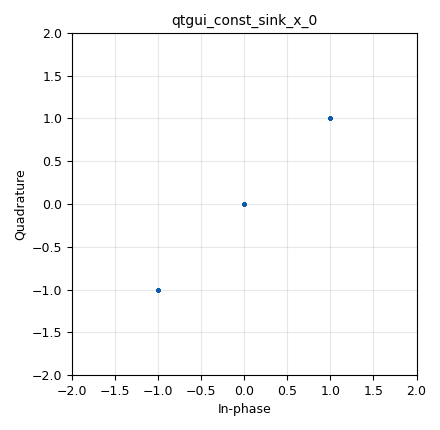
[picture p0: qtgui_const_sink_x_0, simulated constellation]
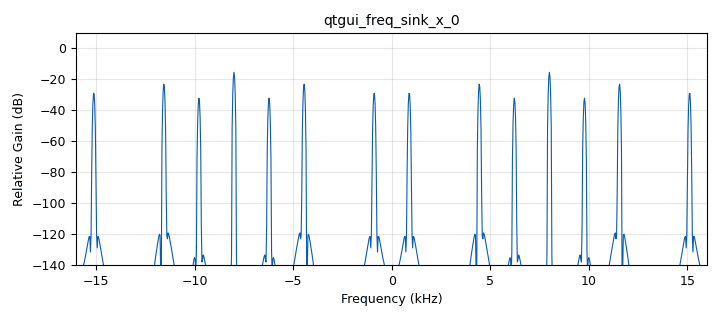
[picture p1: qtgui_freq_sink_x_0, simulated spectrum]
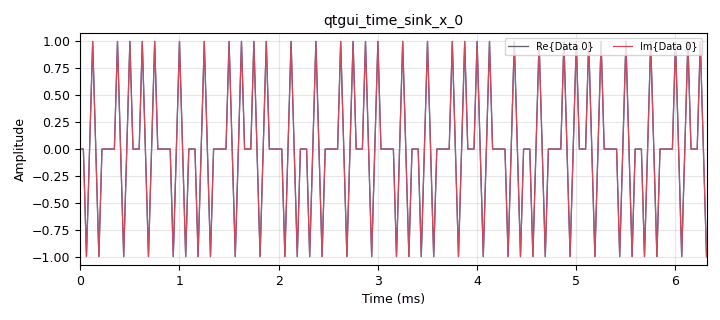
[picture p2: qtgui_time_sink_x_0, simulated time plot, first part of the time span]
<?xml version='1.0' encoding='utf-8'?>
<?grc format='1' created='3.7.13'?>
<flow_graph>
<block>
<key>options</key>
<param><key>id</key><value>top_block</value></param>
<param><key>generate_options</key><value>qt_gui</value></param>
</block>
<block>
<key>variable</key>
<param><key>id</key><value>samp_rate</value></param>
<param><key>value</key><value>32000</value></param>
</block>
<block>
<key>analog_sig_source_x</key>
<param><key>id</key><value>analog_sig_source_x_0</value></param>
<param><key>amp</key><value>1</value></param>
<param><key>freq</key><value>8000</value></param>
<param><key>offset</key><value>0</value></param>
<param><key>type</key><value>float</value></param>
<param><key>samp_rate</key><value>samp_rate</value></param>
<param><key>waveform</key><value>analog.GR_COS_WAVE</value></param>
</block>
<block>
<key>audio_sink</key>
<param><key>id</key><value>audio_sink_0</value></param>
<param><key>samp_rate</key><value>samp_rate</value></param>
</block>
<block>
<key>blocks_float_to_complex</key>
<param><key>id</key><value>blocks_float_to_complex_0</value></param>
</block>
<block>
<key>blocks_multiply_xx</key>
<param><key>id</key><value>blocks_multiply_xx_0</value></param>
<param><key>type</key><value>float</value></param>
</block>
<block>
<key>blocks_vector_source_x</key>
<param><key>id</key><value>blocks_vector_source_x_0</value></param>
<param><key>type</key><value>float</value></param>
<param><key>repeat</key><value>True</value></param>
<param><key>vector</key><value>(1,1,1,0, 0, 0,1,1,1)</value></param>
</block>
<block>
<key>qtgui_const_sink_x</key>
<param><key>id</key><value>qtgui_const_sink_x_0</value></param>
<param><key>size</key><value>1024</value></param>
<param><key>type</key><value>complex</value></param>
</block>
<block>
<key>qtgui_freq_sink_x</key>
<param><key>id</key><value>qtgui_freq_sink_x_0</value></param>
<param><key>bw</key><value>samp_rate</value></param>
<param><key>fc</key><value>0</value></param>
<param><key>fftsize</key><value>1024</value></param>
<param><key>showports</key><value>True</value></param>
<param><key>type</key><value>complex</value></param>
<param><key>wintype</key><value>firdes.WIN_BLACKMAN_hARRIS</value></param>
</block>
<block>
<key>qtgui_time_sink_x</key>
<param><key>id</key><value>qtgui_time_sink_x_0</value></param>
<param><key>color1</key><value>"blue"</value></param>
<param><key>label1</key><value></value></param>
<param><key>color2</key><value>"red"</value></param>
<param><key>label2</key><value></value></param>
<param><key>size</key><value>1024</value></param>
<param><key>srate</key><value>samp_rate</value></param>
<param><key>type</key><value>complex</value></param>
</block>
<connection><source_block_id>analog_sig_source_x_0</source_block_id><sink_block_id>blocks_multiply_xx_0</sink_block_id><source_key>0</source_key><sink_key>0</sink_key></connection>
<connection><source_block_id>blocks_float_to_complex_0</source_block_id><sink_block_id>qtgui_const_sink_x_0</sink_block_id><source_key>0</source_key><sink_key>0</sink_key></connection>
<connection><source_block_id>blocks_float_to_complex_0</source_block_id><sink_block_id>qtgui_freq_sink_x_0</sink_block_id><source_key>0</source_key><sink_key>0</sink_key></connection>
<connection><source_block_id>blocks_float_to_complex_0</source_block_id><sink_block_id>qtgui_time_sink_x_0</sink_block_id><source_key>0</source_key><sink_key>0</sink_key></connection>
<connection><source_block_id>blocks_multiply_xx_0</source_block_id><sink_block_id>audio_sink_0</sink_block_id><source_key>0</source_key><sink_key>0</sink_key></connection>
<connection><source_block_id>blocks_multiply_xx_0</source_block_id><sink_block_id>blocks_float_to_complex_0</sink_block_id><source_key>0</source_key><sink_key>1</sink_key></connection>
<connection><source_block_id>blocks_multiply_xx_0</source_block_id><sink_block_id>blocks_float_to_complex_0</sink_block_id><source_key>0</source_key><sink_key>0</sink_key></connection>
<connection><source_block_id>blocks_vector_source_x_0</source_block_id><sink_block_id>blocks_multiply_xx_0</sink_block_id><source_key>0</source_key><sink_key>1</sink_key></connection>
</flow_graph>
